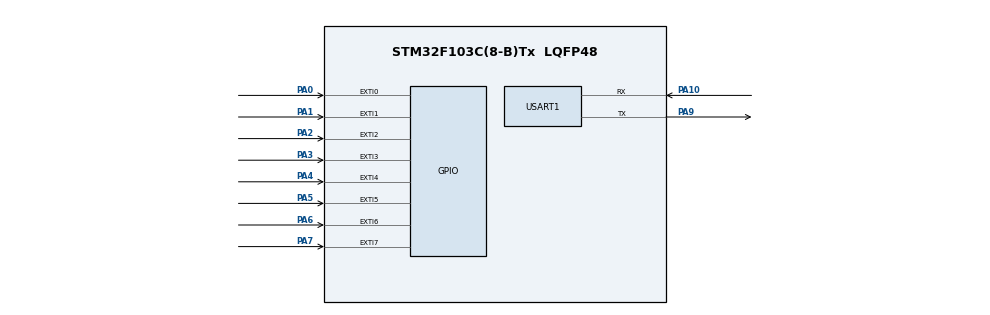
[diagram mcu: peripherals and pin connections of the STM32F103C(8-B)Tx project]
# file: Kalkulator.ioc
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Mcu.Family=STM32F1
Mcu.Name=STM32F103C(8-B)Tx
Mcu.Package=LQFP48
NVIC.EXTI0_IRQn=true\:0\:0\:false\:false\:true\:true\:true
NVIC.EXTI1_IRQn=true\:0\:0\:false\:false\:true\:true\:true
NVIC.EXTI2_IRQn=true\:0\:0\:false\:false\:true\:true\:true
NVIC.EXTI3_IRQn=true\:0\:0\:false\:false\:true\:true\:true
NVIC.EXTI4_IRQn=true\:0\:0\:false\:false\:true\:true\:true
NVIC.EXTI9_5_IRQn=true\:0\:0\:false\:false\:true\:true\:true
NVIC.PriorityGroup=NVIC_PRIORITYGROUP_4
NVIC.USART1_IRQn=true\:0\:0\:false\:false\:true\:true\:true
PA0-WKUP.GPIO_PuPd=GPIO_PULLDOWN
PA0-WKUP.Signal=GPXTI0
PA1.GPIO_PuPd=GPIO_PULLDOWN
PA1.Signal=GPXTI1
PA10.Mode=Asynchronous
PA10.Signal=USART1_RX
PA2.GPIO_PuPd=GPIO_PULLDOWN
PA2.Signal=GPXTI2
PA3.GPIO_PuPd=GPIO_PULLDOWN
PA3.Signal=GPXTI3
PA4.GPIO_PuPd=GPIO_PULLDOWN
PA4.Signal=GPXTI4
PA5.GPIO_PuPd=GPIO_PULLDOWN
PA5.Signal=GPXTI5
PA6.GPIO_PuPd=GPIO_PULLDOWN
PA6.Signal=GPXTI6
PA7.GPIO_PuPd=GPIO_PULLDOWN
PA7.Signal=GPXTI7
PA9.Mode=Asynchronous
PA9.Signal=USART1_TX
ProjectManager.HeapSize=0x200
ProjectManager.StackSize=0x400
ProjectManager.TargetToolchain=MDK-ARM V4
RCC.APB1Freq_Value=8000000
RCC.APB2Freq_Value=8000000
TIM3.Period=16-1
TIM3.Prescaler=682-1
USART1.VirtualMode=VM_ASYNC
VP_SYS_VS_ND.Mode=No_Debug
VP_TIM3_VS_ClockSourceINT.Mode=Internal
board=custom

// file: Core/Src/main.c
/* USER CODE BEGIN Header */
/**
  ******************************************************************************
  * @file           : main.c
  * @brief          : Main program body
  ******************************************************************************
  * @attention
  *
  * <h2><center>&copy; Copyright (c) 2021 STMicroelectronics.
  * All rights reserved.</center></h2>
  *
  * This software component is licensed by ST under BSD 3-Clause license,
  * the "License"; You may not use this file except in compliance with the
  * License. You may obtain a copy of the License at:
  *                        opensource.org/licenses/BSD-3-Clause
  *
  ******************************************************************************
  */
/* USER CODE END Header */
#include "main.h"
#include "tim.h"
#include "usart.h"
#include "gpio.h"

/* USER CODE BEGIN Includes */
#include <stdio.h>
#include <string.h>
/* USER CODE END Includes */

/* USER CODE BEGIN PV */
volatile double number1 = 0, number2 = 0, result = 0;
char text[100];
char input[64];
uint16_t size;
/* USER CODE END PV */

void SystemClock_Config(void);
/* USER CODE BEGIN PFP */

HAL_StatusTypeDef uart_send(char* text) {
	return HAL_UART_Transmit(&huart1, (uint8_t*)text, strlen(text), 1000);
}

HAL_StatusTypeDef uart_recv(char* text) {
	HAL_StatusTypeDef status;
	for(int i = 0; i < 64; ++i) {
		char c;
		status = HAL_UART_Receive(&huart1, (uint8_t*)&c, 1, 200000);
		if(status == HAL_TIMEOUT) break;
		if(c == '\r') {
			input[i] = '\n';
			uart_send("\n");
			break;
		}
		HAL_UART_Transmit(&huart1, (uint8_t*)&c, 1, 20);
		input[i] = c;
	}
	return status;
}

void HAL_GPIO_EXTI_Callback(uint16_t GPIO_Pin) {
	if(GPIO_Pin == GPIO_PIN_0){
		uart_send("Wpisz liczbe 1: ");
		uart_recv(input);
		sscanf(input, "%lf", &number1);
		sprintf(text, "liczba_1 = %lf\n", number1);
		uart_send(text);
		//size = sprintf( (char*) text, "Wprowadz dwie liczby, a nastepnie wybierz dzialanie\n\rPin 4: '+'; Pin 5: '-'; Pin 6: '*'; Pin 7: '/';\n\r");
	} else if(GPIO_Pin == GPIO_PIN_1){
		uart_send("Wpisz liczbe 2: ");
		uart_recv(input);
		sscanf(input, "%lf", &number2);
		sprintf(text, "liczba_2 = %lf\n", number2);
		uart_send(text);
	} else if (GPIO_Pin == GPIO_PIN_2) {
		number1 = result;
		sprintf(text, "liczba_1 = %lf\n", number1);
		uart_send(text);
	} else if (GPIO_Pin == GPIO_PIN_3) {
		number2 = result;
		sprintf(text, "liczba_2 = %lf\n", number2);
		uart_send(text);
	} else if(GPIO_Pin == GPIO_PIN_4){
		result = number1 + number2;
		size = sprintf(text, "%lf + %lf = %lf\n\r", number1, number2, result);
		HAL_UART_Transmit_IT(&huart1, (uint8_t*) text, size);
	} else if(GPIO_Pin == GPIO_PIN_5) {
		result = number1 - number2;
		size = sprintf(text, "%lf - %lf = %lf\n\r", number1, number2, result);
		HAL_UART_Transmit_IT(&huart1, (uint8_t*) text, size);
	} else if(GPIO_Pin == GPIO_PIN_6) {
		result = number1 * number2;
		size = sprintf(text, "%lf * %lf = %lf\n\r", number1, number2, result);
		HAL_UART_Transmit_IT(&huart1, (uint8_t*) text, size);
	} else if(GPIO_Pin == GPIO_PIN_7) {
		if(number2 != 0){
			result = number1 / number2;
			size = sprintf(text, "%lf / %lf = %lf\n\r", number1, number2, number1 / number2);
		} else size = sprintf(text, "Nie wolno dzielic przez 0\n\r");
		HAL_UART_Transmit_IT(&huart1, (uint8_t*) text, size);
	}
}
/* USER CODE END PFP */

int main(void)
{

  /* MCU Configuration--------------------------------------------------------*/

  /* Reset of all peripherals, Initializes the Flash interface and the Systick. */
  HAL_Init();

  /* Configure the system clock */
  SystemClock_Config();

  /* Initialize all configured peripherals */
  MX_GPIO_Init();
  MX_USART1_UART_Init();
  MX_TIM3_Init();

  /* Infinite loop */
  while (1)
  {

  }
}

void SystemClock_Config(void)
{
  RCC_OscInitTypeDef RCC_OscInitStruct = {0};
  RCC_ClkInitTypeDef RCC_ClkInitStruct = {0};

  /** Initializes the RCC Oscillators according to the specified parameters
  * in the RCC_OscInitTypeDef structure.
  */
  RCC_OscInitStruct.OscillatorType = RCC_OSCILLATORTYPE_HSI;
  RCC_OscInitStruct.HSIState = RCC_HSI_ON;
  RCC_OscInitStruct.HSICalibrationValue = RCC_HSICALIBRATION_DEFAULT;
  RCC_OscInitStruct.PLL.PLLState = RCC_PLL_NONE;
  if (HAL_RCC_OscConfig(&RCC_OscInitStruct) != HAL_OK)
  {
    Error_Handler();
  }
  /** Initializes the CPU, AHB and APB buses clocks
  */
  RCC_ClkInitStruct.ClockType = RCC_CLOCKTYPE_HCLK|RCC_CLOCKTYPE_SYSCLK
                              |RCC_CLOCKTYPE_PCLK1|RCC_CLOCKTYPE_PCLK2;
  RCC_ClkInitStruct.SYSCLKSource = RCC_SYSCLKSOURCE_HSI;
  RCC_ClkInitStruct.AHBCLKDivider = RCC_SYSCLK_DIV1;
  RCC_ClkInitStruct.APB1CLKDivider = RCC_HCLK_DIV1;
  RCC_ClkInitStruct.APB2CLKDivider = RCC_HCLK_DIV1;

  if (HAL_RCC_ClockConfig(&RCC_ClkInitStruct, FLASH_LATENCY_0) != HAL_OK)
  {
    Error_Handler();
  }
}

void Error_Handler(void)
{
  __disable_irq();
  while (1)
  {
  }
}

/************************ (C) COPYRIGHT STMicroelectronics *****END OF FILE****/
